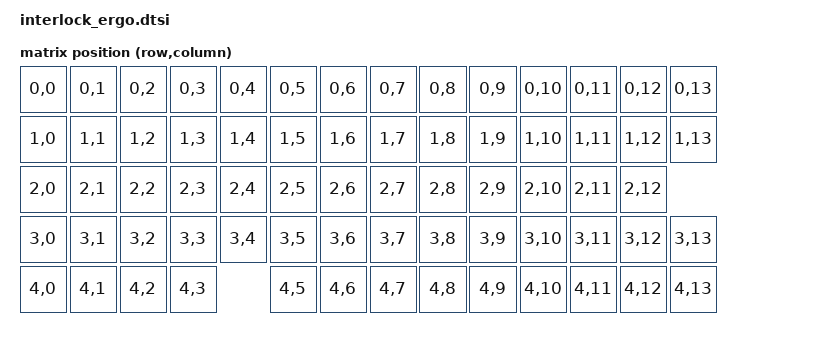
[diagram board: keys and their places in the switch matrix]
#include <dt-bindings/zmk/matrix_transform.h>

/ {
    chosen {
        zmk,kscan = &kscan0;
        zmk,matrix_transform = &default_transform;
    };

    default_transform: keymap_transform_0 {
        compatible = "zmk,matrix-transform";
        columns = <14>;
        rows = <5>;
        /*
         * Matrix Layout:
         * Left half: cols 0..5 (29 keys)
         *   - Col 0: Esc, Tab, Caps, Shift, Ctrl
         *   - Col 1..5: the letter block (1..5, Q..T, A..G, Z..B, Space)
         * Right half: cols 6..13 (39 keys)
         *   - Col 6: 6, Y, H, N, Space_R (STRICTLY ON RIGHT HALF)
         *   - Col 7..13: 7..0, symbols, enter, inverted-T arrow cluster
         *
         * 14 columns = DZ60 split down the middle (6 left + 8 right).
         * Right half inverted-T arrow cluster:
         *   - Up at RC(3,11) [x=6.25u] sits directly above Down at RC(4,12) [x=6.25u]
         *   - Left at RC(4,11) [x=5.25u] sits directly under / at RC(3,10) [x=5.25u]
         *   - Right at RC(4,13) [x=7.25u] sits directly under RShift at RC(3,12) [x=7.25u]
         */
        map = <
            RC(0,0) RC(0,1) RC(0,2) RC(0,3) RC(0,4) RC(0,5)     RC(0,6) RC(0,7) RC(0,8) RC(0,9) RC(0,10) RC(0,11) RC(0,12) RC(0,13)
            RC(1,0) RC(1,1) RC(1,2) RC(1,3) RC(1,4) RC(1,5)     RC(1,6) RC(1,7) RC(1,8) RC(1,9) RC(1,10) RC(1,11) RC(1,12) RC(1,13)
            RC(2,0) RC(2,1) RC(2,2) RC(2,3) RC(2,4) RC(2,5)     RC(2,6) RC(2,7) RC(2,8) RC(2,9) RC(2,10) RC(2,11) RC(2,12)
            RC(3,0) RC(3,1) RC(3,2) RC(3,3) RC(3,4) RC(3,5)     RC(3,6) RC(3,7) RC(3,8) RC(3,9) RC(3,10) RC(3,11) RC(3,12) RC(3,13)
            RC(4,0) RC(4,1) RC(4,2) RC(4,3)         RC(4,5)     RC(4,6) RC(4,7) RC(4,8) RC(4,9) RC(4,10) RC(4,11) RC(4,12) RC(4,13)
        >;
    };
};
